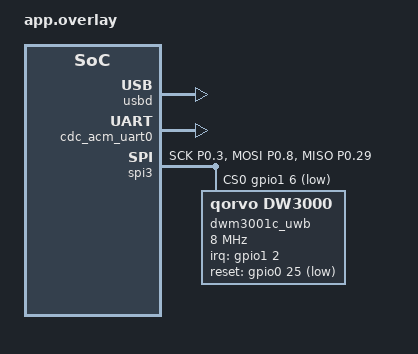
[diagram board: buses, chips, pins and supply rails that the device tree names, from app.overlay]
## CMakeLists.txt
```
cmake_minimum_required(VERSION 3.20.0)

# Configure Devicetree inputs before locating Zephyr
set(DTC_OVERLAY_FILE ${CMAKE_CURRENT_SOURCE_DIR}/app.overlay)
set(DTS_ROOT ${CMAKE_CURRENT_SOURCE_DIR})

find_package(Zephyr REQUIRED HINTS $ENV{ZEPHYR_BASE})
project(uwb_chipid)

# App
target_sources(app PRIVATE src/main.c src/dw3000_port.c src/deca_probe_interface_zephyr.c src/deca_rsl_stub.c)

# Qorvo DW3000 driver from SDK
set(QORVO_DWT_PATH ${CMAKE_CURRENT_SOURCE_DIR}/../../DW3_QM33_SDK_1/Drivers/API/Shared/dwt_uwb_driver)
target_include_directories(app PRIVATE ${QORVO_DWT_PATH})

# Minimal set of driver sources to read DEV_ID
target_sources(app PRIVATE
    ${QORVO_DWT_PATH}/deca_interface.c
    ${QORVO_DWT_PATH}/deca_compat.c
    ${QORVO_DWT_PATH}/dw3000/dw3000_device.c
)
```

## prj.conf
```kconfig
# Console over USB CDC (J20)
CONFIG_SERIAL=y
CONFIG_CONSOLE=y
CONFIG_PRINTK=y
CONFIG_USB_DEVICE_STACK=y
CONFIG_USB_CDC_ACM=y
CONFIG_UART_CONSOLE=y

# SPI + GPIO + IRQ
CONFIG_SPI=y
CONFIG_GPIO=y
CONFIG_THREAD_NAME=y
CONFIG_ASSERT=y
CONFIG_HEAP_MEM_POOL_SIZE=2048
```

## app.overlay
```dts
/ {
    chosen {
        zephyr,console = &cdc_acm_uart0;
        zephyr,shell-uart = &cdc_acm_uart0;
    };
};

/* USB CDC */
&usbd { status = "okay"; };
&zephyr_udc0 {
    cdc_acm_uart0: cdc_acm_uart0 {
        compatible = "zephyr,cdc-acm-uart";
        label = "CDC_ACM_0";
    };
};

/* --- DW3110 on SPI --- */
/* 1) Enable the SPI controller actually wired to the DW3110 (DWM3001CDK uses SPIM3) */
&spi3 {
    status = "okay";
    /* Use pinctrl (required by nrf-spim binding) */
    pinctrl-0 = <&spi3_dwm_default>;
    pinctrl-1 = <&spi3_dwm_sleep>;
    pinctrl-names = "default", "sleep";
    /* DW3110 uses a GPIO-based CS line */
    cs-gpios = <&gpio1 6 GPIO_ACTIVE_LOW>;
};

/* 2) Create a child node describing the DW3110 on that SPI bus */
&spi3 {
    dwm3001c_uwb: dwm3001c_uwb@0 {
        compatible = "qorvo,dw3000";
        reg = <0>;
        spi-max-frequency = <8000000>; /* start slow, you can raise after probe */

        /* From DWM3001CDK board header/schematic */
        irq-gpios  = <&gpio1 2 GPIO_ACTIVE_HIGH>;  /* DW3110 IRQ → P1.02 */
        reset-gpios= <&gpio0 25 GPIO_ACTIVE_LOW>;  /* DW3110 RSTn → P0.25 */
    };
};

/* Custom pinctrl groups for SPIM3 wired to DW3110 on DWM3001CDK */
&pinctrl {
    spi3_dwm_default: spi3_dwm_default {
        group1 {
            psels = <NRF_PSEL(SPIM_SCK, 0, 3)>,
                    <NRF_PSEL(SPIM_MOSI, 0, 8)>,
                    <NRF_PSEL(SPIM_MISO, 0, 29)>;
        };
    };

    spi3_dwm_sleep: spi3_dwm_sleep {
        group1 {
            psels = <NRF_PSEL(SPIM_SCK, 0, 3)>,
                    <NRF_PSEL(SPIM_MOSI, 0, 8)>,
                    <NRF_PSEL(SPIM_MISO, 0, 29)>;
            low-power-enable;
        };
    };
};
```

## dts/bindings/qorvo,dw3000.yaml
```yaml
# SPDX-License-Identifier: Apache-2.0

title: Qorvo DW3000 UWB Transceiver

description: |
  DW3000 family (e.g. DW3110) SPI-attached UWB transceiver.

compatible: "qorvo,dw3000"

include: [spi-device.yaml]

properties:
  irq-gpios:
    type: phandle-array
    required: true
    description: Interrupt line from DW3000 to host MCU

  reset-gpios:
    type: phandle-array
    required: true
    description: Active-low reset output from MCU to DW3000 RSTn
```

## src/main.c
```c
/**
 * @file main.c
 * @brief DW3000 UWB Chip ID Reader for DWM3001CDK
 *
 * This application initializes the DW3000 UWB transceiver on the DWM3001CDK
 * board and reads its device ID to validate SPI communication and hardware
 * connectivity. It serves as a basic bring-up test for the UWB subsystem.
 */

#include <zephyr/kernel.h>          /* Kernel APIs: k_msleep() */
#include <zephyr/sys/printk.h>      /* Print kernel logging APIs */
#include <zephyr/usb/usb_device.h>  /* USB device stack APIs */

/* Qorvo DW3000 driver headers from SDK */
#include "deca_device_api.h"        /* DW3000 driver APIs: dwt_probe(), dwt_readdevid() */

/* Our Zephyr-specific probe interface for the Qorvo driver */
#include "deca_probe_interface.h"   /* Zephyr probe interface definition */

/* Our minimal port layer for GPIO/SPI control */
int dw_port_init(void);             /* Port initialization function */

/**
 * @brief Initialize USB and wait for device enumeration
 *
 * This function brings up the USB device stack and waits briefly to ensure
 * the USB CDC device is ready. This helps prevent loss of early debug output.
 */
static void usb_ready_wait(void) {
    /* Enable USB device stack. This makes the CDC device visible to the host.
     * We ignore any errors if USB is already enabled. */
    (void)usb_enable(NULL);

    /* Wait 500ms for USB enumeration to complete before proceeding.
     * This ensures the virtual serial port is ready for output. */
    k_msleep(500);
}

/**
 * @brief Main application entry point
 *
 * Initializes the UWB hardware, probes for the DW3000 device, reads its
 * device ID, and prints the results. This validates the entire UWB bring-up
 * sequence from SPI communication to device identification.
 */
void main(void)
{
    /* Initialize USB and wait for enumeration to ensure console output works */
    usb_ready_wait();
    printk("\n[DWM3001CDK] uwb_chipid starting...\n");

    /* Initialize our port layer (SPI + GPIO pins for DW3000 control) */
    if (dw_port_init()) {
        /* Port initialization failed - likely SPI or GPIO configuration issue */
        printk("Port init failed (SPI/GPIO not ready). Check overlay pins.\n");
        return;  /* Cannot continue without proper hardware initialization */
    }

    /* Perform hardware reset sequence on the DW3000.
     * The Qorvo driver requires a specific reset sequence to ensure
     * the device is in a known state before communication. */
    extern void dw_port_reset_assert(void);   /* Drive reset pin low */
    extern void dw_port_reset_deassert(void); /* Release reset pin (high) */

    /* Assert reset (drive RSTn low) for 2ms */
    dw_port_reset_assert();
    k_msleep(2);

    /* Deassert reset (drive RSTn high) and wait 5ms for device to stabilize */
    dw_port_reset_deassert();
    k_msleep(5);

    /* Probe for the DW3000 device and initialize the appropriate driver.
     * This function detects the specific DW3000 variant (DW3110, DW3120, etc.)
     * and sets up the driver accordingly. */
    int ret = dwt_probe((struct dwt_probe_s *)&dw3000_probe_interf);
    if (ret < 0) {
        /* Probe failed - could be SPI communication issues, wrong pins,
         * power problems, or incorrect device tree configuration */
        printk("dwt_probe() failed: %d\n", ret);
        /* Continue anyway to show what we can read */
    }

    /* Read the device ID register from the DW3000.
     * This is a key validation step - if SPI communication is working,
     * we should get a valid device ID response. */
    uint32_t dev_id = dwt_readdevid();
    printk("DW3xxx DEV_ID = 0x%08x\n", dev_id);
    printk("Expected for DW3110: 0xDECA0302\n");

    /* Device ID format for DW3000 family:
     * - Bits 31:16 = 0xDECA (Qorvo identifier)
     * - Bits 15:8 = Model (0x03 for DW3110/DW3120)
     * - Bits 7:4 = Variant/Sub-model
     * - Bits 3:0 = Revision
     *
     * Known values:
     * - DW3110: 0xDECA0302
     * - DW3120: 0xDECA0312
     */

    /* Enter idle loop - application has completed its validation task.
     * In a real application, this would be replaced with actual UWB operations. */
    while (1) {
        k_msleep(1000);  /* Sleep forever - no periodic tasks needed */
    }
}
```

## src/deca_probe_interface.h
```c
/**
 * @file deca_probe_interface.h
 * @brief Header for Zephyr DW3000 Probe Interface
 *
 * This header file declares the probe interface structure that allows
 * the Qorvo DW3000 driver to work with Zephyr's hardware abstraction layer.
 * The probe interface provides a standardized way for the DW3000 driver
 * to discover and initialize different DW3000 device variants.
 */

#pragma once

/* Include DW3000 driver API headers for type definitions */
#include "deca_device_api.h"

/**
 * @brief External declaration of DW3000 probe interface
 *
 * This is the main probe interface structure that applications should
 * pass to the dwt_probe() function. It contains function pointers for
 * SPI communication, device wakeup, and driver selection that allow
 * the DW3000 driver to work with Zephyr's hardware abstraction layer.
 *
 * The structure is defined in deca_probe_interface_zephyr.c and contains:
 * - SPI function pointers for device communication
 * - Wakeup function to ensure device is responsive
 * - List of available DW3000 drivers for auto-detection
 *
 * Usage example:
 *   int ret = dwt_probe((struct dwt_probe_s *)&dw3000_probe_interf);
 */
extern const struct dwt_probe_s dw3000_probe_interf;
```

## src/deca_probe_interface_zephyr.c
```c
/**
 * @file deca_probe_interface_zephyr.c
 * @brief Zephyr-Specific Probe Interface for Qorvo DW3000 Driver
 *
 * This file implements the probe interface that allows the Qorvo DW3000 driver
 * to work with Zephyr's hardware abstraction layer. It provides SPI communication
 * functions, GPIO control, and system services (mutexes, delays) that the
 * DW3000 driver expects.
 *
 * The DW3000 driver is designed to be portable across different platforms,
 * so it uses function pointers for all hardware interactions. This file
 * provides Zephyr-specific implementations of those functions.
 */

#include <zephyr/kernel.h>          /* Kernel APIs: k_msleep(), k_busy_wait() */
#include <zephyr/device.h>          /* Device management APIs */
#include <zephyr/drivers/spi.h>     /* SPI driver APIs */
#include <zephyr/drivers/gpio.h>    /* GPIO driver APIs */
#include <zephyr/irq.h>             /* Interrupt management APIs */
#include <string.h>                 /* Memory functions: memcpy(), memset() */
#include <stdbool.h>                /* Boolean helpers */

#include "deca_device_api.h"        /* DW3000 driver APIs and types */
#include "deca_interface.h"         /* DW3000 interface definitions */
#include "deca_probe_interface.h"   /* Probe interface structure */

#define DW3000_PORT_LOG_MUTEX 0
#if DW3000_PORT_LOG_MUTEX
#define DW3000_PORT_PRINTK(...) printk(__VA_ARGS__)
#else
#define DW3000_PORT_PRINTK(...) do { } while (0)
#endif

/**
 * @brief Device tree node reference for the DW3000 UWB device
 *
 * This references the DW3110 device defined in the device tree overlay.
 * Used to get SPI and GPIO specifications for communication.
 */
#define UWB_NODE DT_NODELABEL(dwm3001c_uwb)

/**
 * @brief Compile-time assertion for device tree configuration
 *
 * Ensures the UWB device tree node exists and is enabled. This prevents
 * runtime failures by catching configuration issues at compile time.
 */
BUILD_ASSERT(DT_NODE_HAS_STATUS(UWB_NODE, okay), "UWB node missing or disabled");

/**
 * @brief SPI device specification for DW3000 communication
 *
 * Contains SPI bus reference, chip select configuration, and communication
 * parameters needed for DW3000 SPI transactions.
 */
static const struct spi_dt_spec uwb_spi = SPI_DT_SPEC_GET(UWB_NODE, SPI_WORD_SET(8), 0);

/**
 * @brief GPIO specification for DW3000 reset pin
 *
 * Used for the wakeup device function. The reset pin is toggled briefly
 * to ensure the DW3000 is awake and responsive before communication.
 */
static const struct gpio_dt_spec uwb_reset = GPIO_DT_SPEC_GET(UWB_NODE, reset_gpios);
static const struct gpio_dt_spec uwb_irq = GPIO_DT_SPEC_GET(UWB_NODE, irq_gpios);

#define DW3000_WAKEUP_CS_PULSE_US 600U

/* Forward declarations for functions defined in dw3000_port.c */
void dw_port_reset_assert(void);    /* Assert DW3000 reset */
void dw_port_reset_deassert(void);  /* Deassert DW3000 reset */

/* ============================================================================
 * System Service Functions for Qorvo DW3000 Driver
 * ============================================================================
 * These functions provide the system services that the DW3000 driver expects:
 * - Mutex operations for thread safety
 * - Sleep/delay functions for timing
 * ============================================================================ */

#define DECA_IRQ_KEY_FLAG BIT(31)

static K_MUTEX_DEFINE(dw_mutex);
static k_tid_t dw_mutex_owner;
static uint32_t dw_mutex_depth;
static bool dw_irq_suspended;

static void dw3000_irq_suspend(void)
{
    if (!device_is_ready(uwb_irq.port)) {
        return;
    }

    int ret = gpio_pin_interrupt_configure_dt(&uwb_irq, GPIO_INT_DISABLE);
    if (ret == 0) {
        dw_irq_suspended = true;
    } else {
        DW3000_PORT_PRINTK("dw3000 irq suspend failed: %d\n", ret);
    }
}

static void dw3000_irq_resume(void)
{
    if (!dw_irq_suspended || !device_is_ready(uwb_irq.port)) {
        return;
    }

    int ret = gpio_pin_interrupt_configure_dt(&uwb_irq, GPIO_INT_EDGE_TO_ACTIVE);
    if (ret == 0) {
        dw_irq_suspended = false;
    } else {
        DW3000_PORT_PRINTK("dw3000 irq resume failed: %d\n", ret);
    }
}

/**
 * @brief Acquire mutex for DW3000 driver thread safety
 *
 * The vendor driver expects this to guard SPI register sequences against
 * pre-emption. Using a Zephyr mutex (instead of disabling interrupts) keeps
 * the critical section serialized without tripping kernel assertions when
 * the driver performs blocking calls.
 *
 * @return Dummy value kept for API compatibility.
 */
decaIrqStatus_t decamutexon(void)
{
    if (k_is_in_isr()) {
        unsigned int key = irq_lock();
        DW3000_PORT_PRINTK("decamutexon: ISR lock key=0x%x\n", key);
        return (decaIrqStatus_t)(key | DECA_IRQ_KEY_FLAG);
    }

    k_tid_t self = k_current_get();
    if (dw_mutex_owner == self) {
        dw_mutex_depth++;
        return 0;
    }

    DW3000_PORT_PRINTK("decamutexon: thread %p taking mutex\n", self);
    k_mutex_lock(&dw_mutex, K_FOREVER);
    DW3000_PORT_PRINTK("decamutexon: thread %p got mutex\n", self);
    dw_mutex_owner = self;
    dw_mutex_depth = 1;
    dw3000_irq_suspend();
    return 0;
}

/**
 * @brief Release mutex for DW3000 driver thread safety
 *
 * @param s Unused (retained for API compatibility)
 */
void decamutexoff(decaIrqStatus_t s)
{
    if ((s & DECA_IRQ_KEY_FLAG) != 0U) {
        unsigned int key = (unsigned int)(s & ~DECA_IRQ_KEY_FLAG);
        DW3000_PORT_PRINTK("decamutexoff: ISR unlock key=0x%x\n", key);
        irq_unlock(key);
        return;
    }

    k_tid_t self = k_current_get();
    if (dw_mutex_owner == self && dw_mutex_depth > 0U) {
        dw_mutex_depth--;
        if (dw_mutex_depth == 0U) {
            dw_mutex_owner = NULL;
            DW3000_PORT_PRINTK("decamutexoff: thread %p releasing mutex\n", self);
            dw3000_irq_resume();
            k_mutex_unlock(&dw_mutex);
        }
    }
}

/**
 * @brief Millisecond sleep function for DW3000 driver
 *
 * Provides millisecond-precision delays as required by the DW3000 driver.
 * This is typically used for timing-critical operations during device
 * initialization and configuration.
 *
 * @param time_ms Number of milliseconds to sleep
 */
void deca_sleep(unsigned int time_ms)
{
    /* Use Zephyr's kernel sleep function for millisecond delays.
     * This allows other threads to run while we wait. */
    k_msleep((int32_t)time_ms);
}

/**
 * @brief Microsecond busy-wait function for DW3000 driver
 *
 * Provides microsecond-precision delays using busy-waiting. This is
 * used when precise timing is required and we can't yield to other threads.
 *
 * @param time_us Number of microseconds to busy-wait
 */
void deca_usleep(unsigned long time_us)
{
    /* Use Zephyr's busy-wait function for microsecond delays.
     * This provides precise timing without yielding the CPU. */
    k_busy_wait((uint32_t)time_us);
}

/* ============================================================================
 * Device Wakeup Function for DW3000 Driver
 * ============================================================================ */

/**
 * @brief Wake up the DW3000 device before communication
 *
 * This function is called by the DW3000 driver's probe function to ensure
 * the device is awake and responsive. It does this by briefly toggling
 * the reset pin, which wakes the DW3000 from any low-power state.
 *
 * The DW3000 can enter low-power modes, and this function ensures it's
 * ready to communicate before the driver attempts SPI transactions.
 */
static void wakeup_device_with_io(void)
{
    const struct spi_cs_control *cs_ctrl = &uwb_spi.config.cs;

    /* Vendor-recommended wake path: keep CS active for >500 us. */
    if ((cs_ctrl->gpio.port != NULL) && device_is_ready(cs_ctrl->gpio.port)) {
        (void)gpio_pin_configure_dt(&cs_ctrl->gpio, GPIO_OUTPUT_INACTIVE);
        (void)gpio_pin_set_dt(&cs_ctrl->gpio, 1);
        k_busy_wait(DW3000_WAKEUP_CS_PULSE_US);
        (void)gpio_pin_set_dt(&cs_ctrl->gpio, 0);
        k_busy_wait(200);
        return;
    }

    if (device_is_ready(uwb_reset.port)) {
        dw_port_reset_assert();
        k_msleep(2);
        dw_port_reset_deassert();
        k_msleep(2);
        return;
    }

    k_busy_wait(2000);
}

/* ============================================================================
 * SPI Communication Functions for DW3000 Driver
 * ============================================================================
 * These functions implement the DW3000's specific SPI protocol requirements.
 * The DW3000 uses a header + data SPI transaction format that requires
 * careful buffer management.
 * ============================================================================ */

/**
 * @brief Read data from DW3000 via SPI with header
 *
 * This function implements the DW3000's SPI read protocol. The DW3000 SPI
 * protocol works as follows:
 * 1. Send a header (register address, command, etc.)
 * 2. Send dummy bytes while reading the response
 * 3. The DW3000 responds with the requested data during the dummy byte period
 *
 * @param headerLength Length of the SPI header in bytes
 * @param headerBuffer Buffer containing the SPI header/command
 * @param readlength Number of bytes to read from the device
 * @param readBuffer Buffer to store the received data
 * @return DWT_SUCCESS (0) on success, DWT_ERROR (-1) on failure
 */
static int32_t readfromspi(uint16_t headerLength, uint8_t *headerBuffer,
                           uint16_t readlength, uint8_t *readBuffer)
{
    /* Verify SPI bus is available before attempting communication */
    if (!device_is_ready(uwb_spi.bus)) {
        return DWT_ERROR;  /* SPI bus not ready */
    }

    /* Set up transmit buffers: header + dummy bytes for reading.
     * The DW3000 SPI protocol requires sending dummy bytes to clock
     * out the response data. */
    struct spi_buf tx_bufs[2];

    /* First buffer: the header/command */
    tx_bufs[0].buf = headerBuffer;
    tx_bufs[0].len = headerLength;

    /* Second buffer: dummy bytes to clock out the response.
     * We allocate and zero-fill dummy bytes. */
    uint8_t *dummy = NULL;
    if (readlength > 0U) {
        /* Allocate dummy bytes - all zeros is fine */
        dummy = k_calloc(readlength, 1);
        if (!dummy) {
            return DWT_ERROR;  /* Memory allocation failed */
        }
    }

    /* Second transmit buffer: dummy bytes */
    tx_bufs[1].buf = dummy;
    tx_bufs[1].len = readlength;

    /* Set up receive buffer to capture both header echo and response data.
     * The DW3000 echoes the header followed by the actual response data. */
    const size_t rx_len = (size_t)headerLength + (size_t)readlength;
    uint8_t *rx_tmp = k_malloc(rx_len);
    if (!rx_tmp) {
        k_free(dummy);  /* Clean up on allocation failure */
        return DWT_ERROR;  /* Memory allocation failed */
    }

    /* Set up SPI buffer sets for the transaction */
    struct spi_buf rx_buf = { .buf = rx_tmp, .len = rx_len };
    struct spi_buf_set tx_set = { .buffers = tx_bufs, .count = (readlength ? 2U : 1U) };
    struct spi_buf_set rx_set = { .buffers = &rx_buf, .count = 1U };

    /* Perform the SPI transaction */
    int ret = spi_transceive_dt(&uwb_spi, &tx_set, &rx_set);
    if (ret == 0) {
        /* Transaction successful - extract the response data.
         * Skip the header echo (first headerLength bytes) and copy
         * the actual response data to the caller's buffer. */
        if (readlength > 0U) {
            memcpy(readBuffer, rx_tmp + headerLength, readlength);
        }
        ret = DWT_SUCCESS;
    } else {
        /* SPI transaction failed */
        ret = DWT_ERROR;
    }

    /* Clean up allocated buffers */
    k_free(rx_tmp);
    k_free(dummy);

    return (int32_t)ret;
}

/**
 * @brief Write data to DW3000 via SPI with header
 *
 * This function implements the DW3000's SPI write protocol. It sends
 * a header followed by the data payload in a single SPI transaction.
 *
 * @param headerLength Length of the SPI header in bytes
 * @param headerBuffer Buffer containing the SPI header/command
 * @param bodyLength Length of the data payload in bytes
 * @param bodyBuffer Buffer containing the data to write
 * @return DWT_SUCCESS (0) on success, DWT_ERROR (-1) on failure
 */
static int32_t writetospi(uint16_t headerLength, const uint8_t *headerBuffer,
                           uint16_t bodyLength, const uint8_t *bodyBuffer)
{
    /* Verify SPI bus is available before attempting communication */
    if (!device_is_ready(uwb_spi.bus)) {
        return DWT_ERROR;  /* SPI bus not ready */
    }

    /* Set up transmit buffers: header + data payload */
    struct spi_buf tx_bufs[2];

    /* First buffer: the header/command */
    tx_bufs[0].buf = (void *)headerBuffer;  /* Cast away const for SPI API */
    tx_bufs[0].len = headerLength;

    /* Second buffer: the data payload */
    tx_bufs[1].buf = (void *)bodyBuffer;    /* Cast away const for SPI API */
    tx_bufs[1].len = bodyLength;

    /* Configure SPI buffer set for transmit-only transaction */
    struct spi_buf_set tx_set = {
        .buffers = tx_bufs,
        .count = (bodyLength ? 2U : 1U)  /* Include body buffer only if data */
    };

    /* Perform the SPI transaction (transmit only, no receive) */
    int ret = spi_transceive_dt(&uwb_spi, &tx_set, NULL);
    return (ret == 0) ? (int32_t)DWT_SUCCESS : (int32_t)DWT_ERROR;
}

/**
 * @brief Write data to DW3000 via SPI with header and CRC
 *
 * This function is similar to writetospi() but includes CRC validation.
 * For this simple implementation, we ignore the CRC and delegate to
 * the regular write function.
 *
 * @param headerLength Length of the SPI header in bytes
 * @param headerBuffer Buffer containing the SPI header/command
 * @param bodyLength Length of the data payload in bytes
 * @param bodyBuffer Buffer containing the data to write
 * @param crc8 CRC-8 checksum (currently ignored)
 * @return DWT_SUCCESS (0) on success, DWT_ERROR (-1) on failure
 */
static int32_t writetospiwithcrc(uint16_t headerLength, const uint8_t *headerBuffer,
                                  uint16_t bodyLength, const uint8_t *bodyBuffer, uint8_t crc8)
{
    /* For this simple implementation, ignore CRC and use regular write */
    ARG_UNUSED(crc8);
    return writetospi(headerLength, headerBuffer, bodyLength, bodyBuffer);
}

/**
 * @brief Set DW3000 SPI to slow rate (no-op in this implementation)
 *
 * This function would typically reduce the SPI bus frequency for
 * compatibility with slower devices or during initialization.
 *
 * In this implementation, we use the device tree spi-max-frequency
 * setting to control the bus rate, so this is a no-op.
 */
static void port_set_dw_ic_spi_slowrate(void)
{
    /* No-op: SPI frequency is controlled by device tree spi-max-frequency */
}

/**
 * @brief Set DW3000 SPI to fast rate (no-op in this implementation)
 *
 * This function would typically increase the SPI bus frequency for
 * better performance after device initialization.
 *
 * In this implementation, we use the device tree spi-max-frequency
 * setting to control the bus rate, so this is a no-op.
 */
static void port_set_dw_ic_spi_fastrate(void)
{
    /* No-op: SPI frequency is controlled by device tree spi-max-frequency */
}

/* ============================================================================
 * DW3000 Driver Interface Structures
 * ============================================================================
 * These structures provide the interface between Zephyr and the Qorvo DW3000
 * driver. They contain function pointers and configuration data that the
 * driver uses to communicate with the hardware.
 * ============================================================================ */

/**
 * @brief SPI function table for DW3000 driver
 *
 * This structure contains function pointers for all SPI operations that
 * the DW3000 driver needs. It allows the driver to be platform-independent
 * by using these function pointers instead of direct hardware access.
 */
static const struct dwt_spi_s dw3000_spi_fct = {
    .readfromspi = readfromspi,              /* SPI read with header */
    .writetospi = writetospi,                /* SPI write with header */
    .writetospiwithcrc = writetospiwithcrc,  /* SPI write with CRC */
    .setslowrate = port_set_dw_ic_spi_slowrate,  /* Set slow SPI rate */
    .setfastrate = port_set_dw_ic_spi_fastrate,  /* Set fast SPI rate */
};

/* External reference to the DW3000 driver structure from Qorvo SDK */
extern const struct dwt_driver_s dw3000_driver;

/**
 * @brief Driver list for probe interface
 *
 * Array of pointers to available DW3000 drivers. For this implementation,
 * we only support the standard DW3000 driver, but the structure allows
 * for multiple drivers to be listed for auto-detection.
 */
static const struct dwt_driver_s* tmp_ptr[] = { &dw3000_driver };

/**
 * @brief Main probe interface structure for DW3000
 *
 * This is the primary interface structure that the application passes to
 * dwt_probe(). It contains all the information the DW3000 driver needs to:
 * - Communicate via SPI using our Zephyr-specific functions
 * - Wake up the device when needed
 * - Auto-detect the correct driver variant
 *
 * The driver uses this structure to perform device initialization and
 * to determine which DW3000 variant (DW3110, DW3120, etc.) is connected.
 */
const struct dwt_probe_s dw3000_probe_interf = {
    .dw = NULL,                              /* Device handle (filled by driver) */
    .spi = (void*)&dw3000_spi_fct,           /* SPI function table */
    .wakeup_device_with_io = wakeup_device_with_io,  /* Wakeup function */
    .driver_list = (struct dwt_driver_s **)tmp_ptr,   /* Available drivers */
    .dw_driver_num = 1,                      /* Number of drivers in list */
};
```

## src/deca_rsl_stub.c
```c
#include <stdint.h>
#include <stdbool.h>
#include "deca_rsl.h"

/* Minimal stubs to satisfy link for DEV_ID read demo. */
int16_t rsl_calculate_signal_power(
    int32_t channel_impulse_response,
    uint8_t quantization_factor,
    uint16_t preamble_accumulation_count,
    uint8_t dgc_decision,
    uint8_t rx_pcode,
    bool is_sts)
{
    (void)channel_impulse_response;
    (void)quantization_factor;
    (void)preamble_accumulation_count;
    (void)dgc_decision;
    (void)rx_pcode;
    (void)is_sts;
    return 0; /* 0 dBm (q8.8) placeholder */
}

int16_t rsl_calculate_first_path_power(
    uint32_t F1,
    uint32_t F2,
    uint32_t F3,
    uint16_t preamble_accumulation_count,
    uint8_t dgc_decision,
    uint8_t rx_pcode,
    bool is_sts)
{
    (void)F1;
    (void)F2;
    (void)F3;
    (void)preamble_accumulation_count;
    (void)dgc_decision;
    (void)rx_pcode;
    (void)is_sts;
    return 0; /* 0 dBm (q8.8) placeholder */
}
```

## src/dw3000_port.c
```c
/**
 * @file dw3000_port.c
 * @brief Minimal Port Layer for DW3000 UWB Transceiver
 *
 * This file provides a thin abstraction layer between the Qorvo DW3000 driver
 * and Zephyr's hardware abstraction layer. It handles GPIO control for reset
 * and interrupt pins, SPI communication, and basic timing functions.
 */

#include <zephyr/kernel.h>          /* Kernel APIs: k_msleep() */
#include <zephyr/device.h>          /* Device management APIs */
#include <zephyr/drivers/gpio.h>    /* GPIO driver APIs */
#include <zephyr/drivers/spi.h>     /* SPI driver APIs */
#include <zephyr/usb/usb_device.h>  /* USB device stack APIs (unused in this file) */
#include <zephyr/sys/printk.h>      /* Print kernel logging APIs (unused in this file) */

/**
 * @brief Device tree node reference for the DW3000 UWB device
 *
 * This references the DW3000 device defined in the device tree overlay.
 * The node label "dwm3001c_uwb" corresponds to the device tree node
 * that describes the DW3110 on the DWM3001CDK board.
 */
#define UWB_NODE DT_NODELABEL(dwm3001c_uwb)

/**
 * @brief Compile-time assertion for device tree configuration
 *
 * Ensures the UWB device tree node exists and is enabled. If this fails,
 * the build will stop with a clear error message indicating the overlay
 * configuration is missing or incorrect.
 */
BUILD_ASSERT(DT_NODE_HAS_STATUS(UWB_NODE, okay), "UWB node missing or disabled");

/**
 * @brief SPI device specification for DW3000 communication
 *
 * This structure contains all SPI configuration needed to communicate with
 * the DW3000: SPI bus reference, chip select pin, and communication parameters.
 * The SPI_WORD_SET(8) specifies 8-bit word size for SPI transactions.
 */
static const struct spi_dt_spec uwb_spi = SPI_DT_SPEC_GET(UWB_NODE, SPI_WORD_SET(8), 0);

/**
 * @brief GPIO specification for DW3000 interrupt pin
 *
 * The DW3000 uses this pin to signal events to the host microcontroller.
 * It's configured as an input pin that the DW3000 can drive high when
 * it has data ready or needs attention.
 */
static const struct gpio_dt_spec uwb_irq = GPIO_DT_SPEC_GET(UWB_NODE, irq_gpios);

/**
 * @brief GPIO specification for DW3000 reset pin
 *
 * This is an active-low reset pin. When driven low, it resets the DW3000
 * to a known state. When high (inactive), the DW3000 operates normally.
 */
static const struct gpio_dt_spec uwb_reset = GPIO_DT_SPEC_GET(UWB_NODE, reset_gpios);

/**
 * @brief Initialize the DW3000 port layer
 *
 * This function verifies that all required hardware interfaces (SPI bus,
 * GPIO pins) are available and configures them appropriately.
 *
 * @return 0 on success, negative errno on failure
 */
int dw_port_init(void)
{
    /* Verify SPI bus is ready for communication */
    if (!device_is_ready(uwb_spi.bus)) {
        printk("dw_port: SPI bus not ready\n");
        return -ENODEV;  /* SPI bus not available */
    }

    /* Verify interrupt GPIO pin is accessible */
    if (!device_is_ready(uwb_irq.port)) {
        printk("dw_port: IRQ GPIO port not ready\n");
        return -ENODEV;  /* IRQ GPIO port not available */
    }

    /* Verify reset GPIO pin is accessible */
    if (!device_is_ready(uwb_reset.port)) {
        printk("dw_port: Reset GPIO port not ready\n");
        return -ENODEV;  /* Reset GPIO port not available */
    }

    /* Keep reset released as high-Z input (vendor reference behavior). */
    int ret = gpio_pin_configure_dt(&uwb_reset, GPIO_INPUT);
    if (ret) {
        printk("dw_port: Failed to configure reset pin (%d)\n", ret);
        return ret;
    }
    printk("dw_port: Reset pin configured\n");

    /* Configure interrupt pin as input (DW3000 will drive this pin) */
    ret = gpio_pin_configure_dt(&uwb_irq, GPIO_INPUT);
    if (ret) {
        printk("dw_port: Failed to configure IRQ pin (%d)\n", ret);
        return ret;
    }
    printk("dw_port: IRQ pin configured\n");

    printk("dw_port: init complete\n");
    return 0;  /* All hardware interfaces successfully initialized */
}

/**
 * @brief Delay function for DW3000 driver
 *
 * Provides millisecond-precision delays as required by the DW3000 driver.
 * This is a simple wrapper around Zephyr's k_msleep() function.
 *
 * @param ms Number of milliseconds to delay
 */
void dw_port_delay_ms(uint32_t ms) {
    k_msleep(ms);
}

/**
 * @brief Assert DW3000 reset (drive reset pin low)
 *
 * This function drives the reset pin low, putting the DW3000 into reset state.
 * The reset pin is active-low, so low = reset asserted.
 */
void dw_port_reset_assert(void) {
    /* Drive reset active (physical low for GPIO_ACTIVE_LOW). */
    int ret = gpio_pin_configure_dt(&uwb_reset, GPIO_OUTPUT_ACTIVE);
    if (ret) {
        printk("dw_port: Reset assert failed (%d)\n", ret);
        return;
    }
    printk("dw_port: Reset asserted\n");
}

/**
 * @brief Deassert DW3000 reset (release reset pin)
 *
 * This function releases the reset pin, allowing the DW3000 to operate normally.
 * With GPIO_ACTIVE_LOW, setting the logical value to 0 drives the physical
 * pin high, which deasserts the active-low reset.
 */
void dw_port_reset_deassert(void) {
    /* Release reset line to input; do not actively drive high. */
    int ret = gpio_pin_configure_dt(&uwb_reset, GPIO_INPUT);
    if (ret) {
        printk("dw_port: Reset deassert failed (%d)\n", ret);
    } else {
        printk("dw_port: Reset deasserted\n");
    }
}

/**
 * @brief SPI write/read transaction for DW3000 communication
 *
 * This function performs SPI transactions with the DW3000. It can handle
 * write-only, read-only, or simultaneous write-read operations.
 *
 * @param tx Pointer to transmit buffer (can be NULL for read-only)
 * @param txlen Length of transmit data in bytes
 * @param rx Pointer to receive buffer (can be NULL for write-only)
 * @param rxlen Length of expected receive data in bytes
 * @return 0 on success, negative errno on failure
 */
int dw_port_spi_write_read(const uint8_t *tx, size_t txlen, uint8_t *rx, size_t rxlen)
{
    /* Set up transmit buffer if we have data to send */
    struct spi_buf txb = {
        .buf = (void*)tx,    /* Cast away const for SPI API */
        .len = txlen
    };

    /* Set up receive buffer if we expect to receive data */
    struct spi_buf rxb = {
        .buf = rx,
        .len = rxlen
    };

    /* Configure SPI buffer sets for transmit and receive */
    struct spi_buf_set tx_set = {
        .buffers = &txb,
        .count = tx ? 1 : 0  /* Only include tx buffer if tx data provided */
    };
    struct spi_buf_set rx_set = {
        .buffers = &rxb,
        .count = rx ? 1 : 0  /* Only include rx buffer if rx buffer provided */
    };

    /* Perform the SPI transaction */
    return spi_transceive_dt(&uwb_spi,
                           tx ? &tx_set : NULL,  /* Transmit set (or NULL) */
                           rx ? &rx_set : NULL); /* Receive set (or NULL) */
}
```
